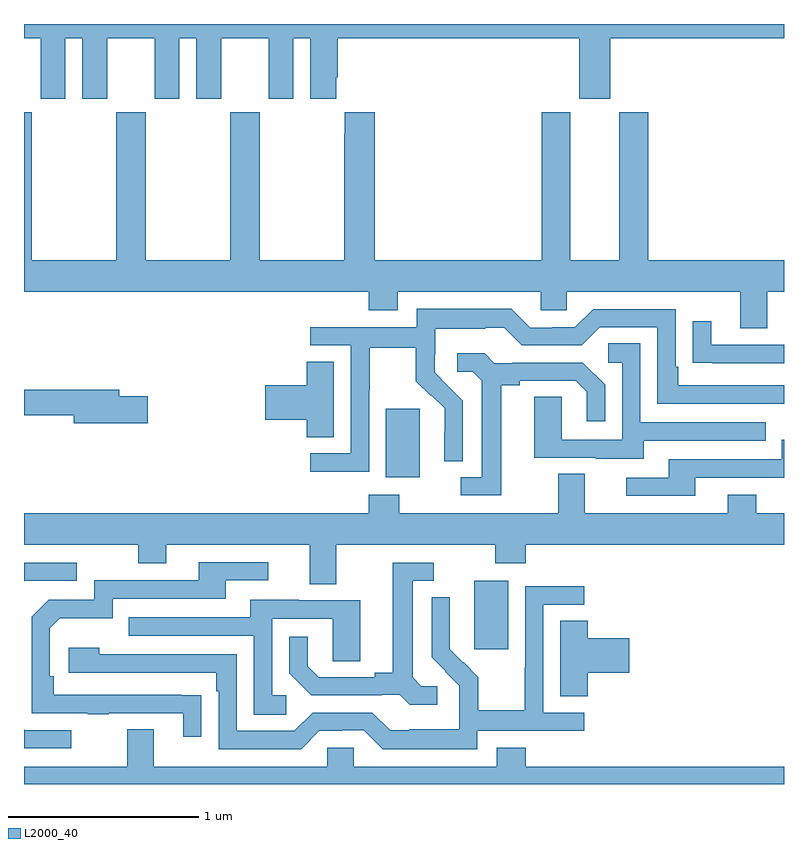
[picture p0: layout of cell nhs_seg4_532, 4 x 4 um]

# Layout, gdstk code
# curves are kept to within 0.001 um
import gdstk
lib = gdstk.Library(unit=1e-6, precision=1e-09)
def R(c, l, rs):  # rectangles x0, y0, x1, y1
    for r in rs: c.add(gdstk.rectangle(r[:2], r[2:], *l))
def P(c, l, *ps):  # polygons
    for p in ps: c.add(gdstk.Polygon(p, *l))
L2000_40 = (2000, 40)

nhs_seg4_532 = lib.new_cell('nhs_seg4_532')
R(nhs_seg4_532, L2000_40, [(139.37,789.609,139.549,789.97), (138.905,790.514,139.084,790.875)])
P(nhs_seg4_532, L2000_40, [(137,792.824),(137.087,792.824),(137.087,792.507),(137.218,792.507),(137.218,792.824),(137.306,792.824),(137.306,792.507),(137.437,792.507),(137.437,792.824),(137.687,792.824),(137.687,792.507),(137.818,792.507),(137.818,792.824),(137.906,792.824),(137.906,792.507),(138.037,792.507),(138.037,792.824),(138.287,792.824),(138.287,792.507),(138.418,792.507),(138.418,792.824),(138.506,792.824),(138.506,792.507),(138.643,792.507),(138.643,792.619),(138.65,792.619),(138.65,792.824),(139.922,792.824),(139.922,792.507),(140.086,792.507),(140.086,792.824),(141,792.824),(141,792.9),(137,792.9)],
  [(139.724,791.656),(138.845,791.656),(138.845,792.436),(138.689,792.436),(138.689,792.323),(138.685,792.323),(138.685,791.656),(138.24,791.656),(138.24,792.436),(138.085,792.436),(138.085,791.656),(137.64,791.656),(137.64,792.436),(137.485,792.436),(137.485,791.656),(137.04,791.656),(137.04,792.436),(137,792.436),(137,791.492),(138.815,791.492),(138.815,791.393),(138.967,791.393),(138.967,791.492),(139.719,791.492),(139.719,791.394),(139.857,791.394),(139.857,791.492),(140.771,791.492),(140.771,791.298),(140.911,791.298),(140.911,791.492),(141,791.492),(141,791.656),(140.285,791.656),(140.285,792.435),(140.132,792.435),(140.132,791.656),(139.876,791.656),(139.876,792.435),(139.724,792.435)],
  [(138.816,790.972),(138.819,790.972),(138.819,791.196),(139.063,791.196),(139.063,791.021),(139.14,790.944),(139.143,790.947),(139.214,790.877),(139.214,790.754),(139.212,790.754),(139.212,790.6),(139.308,790.6),(139.308,790.918),(139.162,791.066),(139.162,791.163),(139.164,791.163),(139.164,791.297),(139.427,791.297),(139.427,791.301),(139.527,791.301),(139.62,791.208),(139.935,791.208),(140.031,791.304),(140.334,791.304),(140.334,790.902),(141,790.902),(141,790.998),(140.443,790.998),(140.443,791.095),(140.43,791.095),(140.43,791.4),(139.995,791.4),(139.899,791.304),(139.781,791.304),(139.781,791.301),(139.665,791.301),(139.565,791.401),(139.068,791.401),(139.068,791.304),(138.507,791.304),(138.507,791.208),(138.72,791.208),(138.72,790.641),(138.507,790.641),(138.507,790.543),(138.816,790.543)],
  [(141,791.211),(140.617,791.211),(140.617,791.335),(140.521,791.335),(140.521,791.116),(140.623,791.116),(140.623,791.115),(141,791.115)],
  [(140.263,790.707),(140.903,790.707),(140.903,790.803),(140.244,790.803),(140.244,791.219),(140.076,791.219),(140.076,791.118),(140.148,791.118),(140.148,790.713),(139.83,790.713),(139.83,790.937),(139.685,790.937),(139.685,790.617),(140.009,790.617),(140.009,790.613),(140.263,790.613)],
  [(139.513,791),(139.609,791),(139.609,791.022),(139.904,791.022),(139.961,790.965),(139.961,790.809),(140.058,790.809),(140.058,791.002),(139.942,791.118),(139.57,791.118),(139.57,791.115),(139.476,791.115),(139.424,791.167),(139.281,791.167),(139.281,791.07),(139.362,791.07),(139.409,791.023),(139.409,790.515),(139.299,790.515),(139.299,790.419),(139.513,790.419)],
  [(138.631,791.123),(138.488,791.123),(138.488,791),(138.27,791),(138.27,790.817),(138.488,790.817),(138.488,790.726),(138.631,790.726)],
  [(137.65,790.94),(137.5,790.94),(137.5,790.976),(137,790.976),(137,790.84),(137.261,790.84),(137.261,790.798),(137.65,790.798)],
  [(140.533,790.512),(141,790.512),(141,790.711),(140.988,790.711),(140.988,790.608),(140.393,790.608),(140.393,790.512),(140.169,790.512),(140.169,790.416),(140.533,790.416)],
  [(138.643,790.16),(139.48,790.16),(139.48,790.061),(139.64,790.061),(139.64,790.16),(141,790.16),(141,790.324),(140.853,790.324),(140.853,790.423),(140.705,790.423),(140.705,790.324),(139.951,790.324),(139.951,790.532),(139.811,790.532),(139.811,790.324),(138.975,790.324),(138.975,790.423),(138.815,790.423),(138.815,790.324),(137,790.324),(137,790.16),(137.602,790.16),(137.602,790.061),(137.749,790.061),(137.749,790.16),(138.503,790.16),(138.503,789.952),(138.643,789.952)],
  [(137.933,789.368),(137.156,789.369),(137.156,789.466),(137.136,789.466),(137.136,789.72),(137.189,789.773),(137.466,789.773),(137.466,789.876),(138.061,789.876),(138.061,789.972),(138.286,789.972),(138.286,790.068),(137.921,790.068),(137.921,789.972),(137.37,789.972),(137.37,789.87),(137.13,789.87),(137.04,789.78),(137.04,789.273),(137.335,789.273),(137.335,789.268),(137.447,789.268),(137.447,789.273),(137.837,789.273),(137.837,789.15),(137.933,789.15)],
  [(137.001,789.969),(137.278,789.969),(137.278,790.065),(137,790.065),(137,789.968)],
  [(139.174,789.414),(139.092,789.414),(139.045,789.461),(139.045,789.969),(139.156,789.969),(139.156,790.065),(138.941,790.065),(138.941,789.485),(138.845,789.485),(138.845,789.462),(138.55,789.462),(138.493,789.519),(138.493,789.676),(138.396,789.676),(138.396,789.482),(138.512,789.366),(138.884,789.366),(138.884,789.369),(138.978,789.369),(139.03,789.317),(139.174,789.317)],
  [(139.386,789.18),(139.948,789.18),(139.948,789.276),(139.734,789.276),(139.734,789.843),(139.948,789.843),(139.948,789.942),(139.638,789.942),(139.638,789.512),(139.636,789.512),(139.636,789.289),(139.391,789.289),(139.391,789.463),(139.314,789.54),(139.311,789.537),(139.241,789.608),(139.242,789.884),(139.146,789.884),(139.146,789.566),(139.292,789.418),(139.292,789.321),(139.29,789.321),(139.29,789.187),(139.027,789.187),(139.027,789.183),(138.927,789.183),(138.834,789.276),(138.519,789.276),(138.423,789.18),(138.12,789.18),(138.12,789.582),(137.396,789.582),(137.396,789.616),(137.235,789.616),(137.235,789.486),(138.011,789.486),(138.011,789.389),(138.024,789.389),(138.024,789.084),(138.459,789.084),(138.555,789.18),(138.674,789.18),(138.674,789.183),(138.789,789.183),(138.889,789.083),(139.386,789.083)],
  [(138.379,789.366),(138.306,789.366),(138.306,789.771),(138.624,789.771),(138.624,789.547),(138.769,789.547),(138.769,789.867),(138.445,789.867),(138.445,789.871),(138.191,789.871),(138.191,789.777),(137.551,789.777),(137.551,789.681),(138.21,789.681),(138.21,789.265),(138.379,789.265)],
  [(139.967,789.485),(140.185,789.485),(140.185,789.668),(139.967,789.668),(139.967,789.758),(139.823,789.758),(139.823,789.361),(139.967,789.361)],
  [(137.248,789.183),(137.004,789.183),(137,789.187),(137,789.087),(137.248,789.087)],
  [(141,788.992),(139.64,788.992),(139.64,789.091),(139.487,789.091),(139.487,788.992),(138.735,788.992),(138.735,789.09),(138.597,789.09),(138.597,788.992),(137.683,788.992),(137.683,789.187),(137.543,789.187),(137.543,788.992),(137,788.992),(137,788.9),(141,788.9)])

lib.write_gds('nhs_seg4_532.gds')
